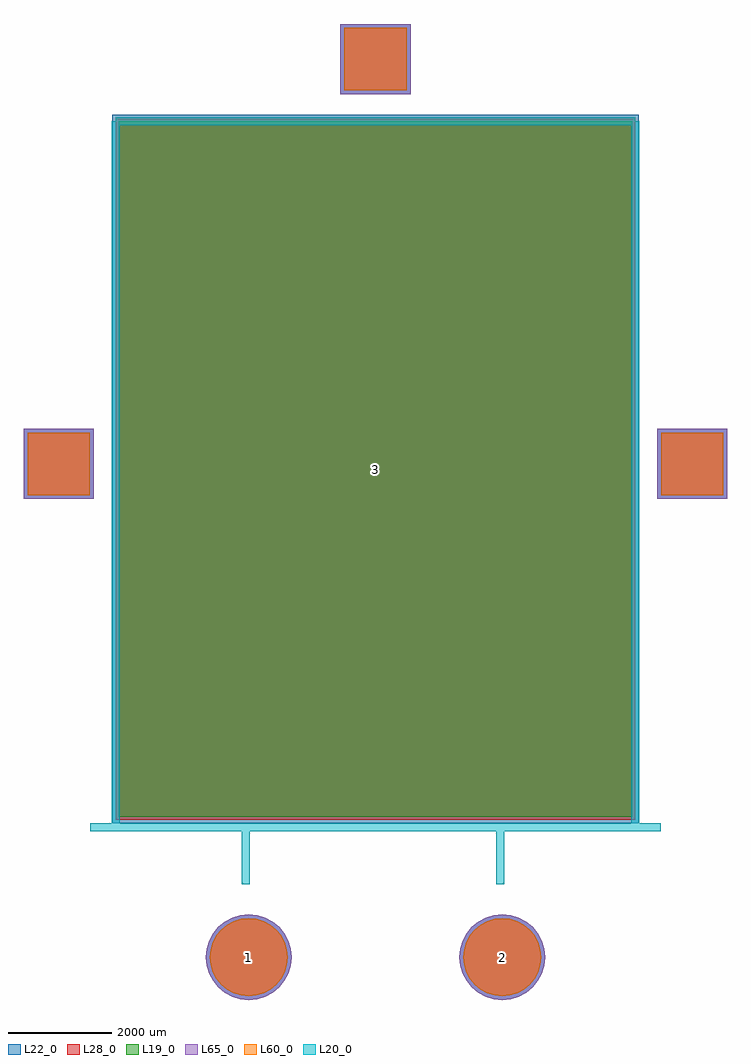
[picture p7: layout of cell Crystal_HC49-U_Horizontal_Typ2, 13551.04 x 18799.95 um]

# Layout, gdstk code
import gdstk
lib = gdstk.Library(unit=1e-6, precision=1e-09)
def R(c, l, rs):  # rectangles x0, y0, x1, y1
    for r in rs: c.add(gdstk.rectangle(r[:2], r[2:], *l))
def P(c, l, *ps):  # polygons
    for p in ps: c.add(gdstk.Polygon(p, *l))
L19_0 = (19, 0)
L20_0 = (20, 0)
L22_0 = (22, 0)
L28_0 = (28, 0)
L60_0 = (60, 0)
L65_0 = (65, 0)

crystal_hc49_u_horizonta = lib.new_cell('Crystal_HC49-U_Horizontal_Typ2')
R(crystal_hc49_u_horizonta, L19_0, [(-4949.99,2700.49,4949.99,16100.59)])
R(crystal_hc49_u_horizonta, L22_0, [(-5074.99,2575.49,5074.99,16225.59), (-6775.52,8825.16,-5426.64,10174.04), (5426.64,8825.16,6775.52,10174.04), (-674.44,16625.5,674.44,17974.38)])
P(crystal_hc49_u_horizonta, L22_0, [(3266.51,0),(3250.647,161.061),(3203.667,315.932),(3127.376,458.662),(3024.706,583.766),(2899.602,686.436),(2756.872,762.727),(2602.001,809.707),(2440.94,825.57),(2279.879,809.707),(2125.008,762.727),(1982.278,686.436),(1857.174,583.766),(1754.504,458.662),(1678.213,315.932),(1631.233,161.061),(1615.37,0),(1631.233,-161.061),(1678.213,-315.932),(1754.504,-458.662),(1857.174,-583.766),(1982.278,-686.436),(2125.008,-762.727),(2279.879,-809.707),(2440.94,-825.57),(2602.001,-809.707),(2756.872,-762.727),(2899.602,-686.436),(3024.706,-583.766),(3127.376,-458.662),(3203.667,-315.932),(3250.647,-161.061)],
  [(-1615.37,0),(-1631.233,161.061),(-1678.213,315.932),(-1754.504,458.662),(-1857.174,583.766),(-1982.278,686.436),(-2125.008,762.727),(-2279.879,809.707),(-2440.94,825.57),(-2602.001,809.707),(-2756.872,762.727),(-2899.602,686.436),(-3024.706,583.766),(-3127.376,458.662),(-3203.667,315.932),(-3250.647,161.061),(-3266.51,0),(-3250.647,-161.061),(-3203.667,-315.932),(-3127.376,-458.662),(-3024.706,-583.766),(-2899.602,-686.436),(-2756.872,-762.727),(-2602.001,-809.707),(-2440.94,-825.57),(-2279.879,-809.707),(-2125.008,-762.727),(-1982.278,-686.436),(-1857.174,-583.766),(-1754.504,-458.662),(-1678.213,-315.932),(-1631.233,-161.061)])
R(crystal_hc49_u_horizonta, L28_0, [(-4999.99,2650.49,4999.99,16150.59), (-6700.52,8900.16,-5501.64,10099.04), (5501.64,8900.16,6700.52,10099.04), (-599.44,16700.5,599.44,17899.38)])
P(crystal_hc49_u_horizonta, L28_0, [(3191.51,0),(3177.088,146.429),(3134.376,287.231),(3065.016,416.994),(2971.673,530.733),(2857.934,624.076),(2728.171,693.436),(2587.369,736.148),(2440.94,750.57),(2294.511,736.148),(2153.709,693.436),(2023.946,624.076),(1910.207,530.733),(1816.864,416.994),(1747.504,287.231),(1704.792,146.429),(1690.37,0),(1704.792,-146.429),(1747.504,-287.231),(1816.864,-416.994),(1910.207,-530.733),(2023.946,-624.076),(2153.709,-693.436),(2294.511,-736.148),(2440.94,-750.57),(2587.369,-736.148),(2728.171,-693.436),(2857.934,-624.076),(2971.673,-530.733),(3065.016,-416.994),(3134.376,-287.231),(3177.088,-146.429)],
  [(-1690.37,0),(-1704.792,146.429),(-1747.504,287.231),(-1816.864,416.994),(-1910.207,530.733),(-2023.946,624.076),(-2153.709,693.436),(-2294.511,736.148),(-2440.94,750.57),(-2587.369,736.148),(-2728.171,693.436),(-2857.934,624.076),(-2971.673,530.733),(-3065.016,416.994),(-3134.376,287.231),(-3177.088,146.429),(-3191.51,0),(-3177.088,-146.429),(-3134.376,-287.231),(-3065.016,-416.994),(-2971.673,-530.733),(-2857.934,-624.076),(-2728.171,-693.436),(-2587.369,-736.148),(-2440.94,-750.57),(-2294.511,-736.148),(-2153.709,-693.436),(-2023.946,-624.076),(-1910.207,-530.733),(-1816.864,-416.994),(-1747.504,-287.231),(-1704.792,-146.429)])
R(crystal_hc49_u_horizonta, L60_0, [(-6700.52,8900.16,-5501.64,10099.04), (5501.64,8900.16,6700.52,10099.04), (-599.44,16700.5,599.44,17899.38)])
P(crystal_hc49_u_horizonta, L60_0, [(3191.51,0),(3177.088,146.429),(3134.376,287.231),(3065.016,416.994),(2971.673,530.733),(2857.934,624.076),(2728.171,693.436),(2587.369,736.148),(2440.94,750.57),(2294.511,736.148),(2153.709,693.436),(2023.946,624.076),(1910.207,530.733),(1816.864,416.994),(1747.504,287.231),(1704.792,146.429),(1690.37,0),(1704.792,-146.429),(1747.504,-287.231),(1816.864,-416.994),(1910.207,-530.733),(2023.946,-624.076),(2153.709,-693.436),(2294.511,-736.148),(2440.94,-750.57),(2587.369,-736.148),(2728.171,-693.436),(2857.934,-624.076),(2971.673,-530.733),(3065.016,-416.994),(3134.376,-287.231),(3177.088,-146.429)],
  [(-1690.37,0),(-1704.792,146.429),(-1747.504,287.231),(-1816.864,416.994),(-1910.207,530.733),(-2023.946,624.076),(-2153.709,693.436),(-2294.511,736.148),(-2440.94,750.57),(-2587.369,736.148),(-2728.171,693.436),(-2857.934,624.076),(-2971.673,530.733),(-3065.016,416.994),(-3134.376,287.231),(-3177.088,146.429),(-3191.51,0),(-3177.088,-146.429),(-3134.376,-287.231),(-3065.016,-416.994),(-2971.673,-530.733),(-2857.934,-624.076),(-2728.171,-693.436),(-2587.369,-736.148),(-2440.94,-750.57),(-2294.511,-736.148),(-2153.709,-693.436),(-2023.946,-624.076),(-1910.207,-530.733),(-1816.864,-416.994),(-1747.504,-287.231),(-1704.792,-146.429)])
R(crystal_hc49_u_horizonta, L65_0, [(-6775.52,8825.16,-5426.64,10174.04), (5426.64,8825.16,6775.52,10174.04), (-674.44,16625.5,674.44,17974.38)])
P(crystal_hc49_u_horizonta, L65_0, [(3266.51,0),(3250.647,161.061),(3203.667,315.932),(3127.376,458.662),(3024.706,583.766),(2899.602,686.436),(2756.872,762.727),(2602.001,809.707),(2440.94,825.57),(2279.879,809.707),(2125.008,762.727),(1982.278,686.436),(1857.174,583.766),(1754.504,458.662),(1678.213,315.932),(1631.233,161.061),(1615.37,0),(1631.233,-161.061),(1678.213,-315.932),(1754.504,-458.662),(1857.174,-583.766),(1982.278,-686.436),(2125.008,-762.727),(2279.879,-809.707),(2440.94,-825.57),(2602.001,-809.707),(2756.872,-762.727),(2899.602,-686.436),(3024.706,-583.766),(3127.376,-458.662),(3203.667,-315.932),(3250.647,-161.061)],
  [(-1615.37,0),(-1631.233,161.061),(-1678.213,315.932),(-1754.504,458.662),(-1857.174,583.766),(-1982.278,686.436),(-2125.008,762.727),(-2279.879,809.707),(-2440.94,825.57),(-2602.001,809.707),(-2756.872,762.727),(-2899.602,686.436),(-3024.706,583.766),(-3127.376,458.662),(-3203.667,315.932),(-3250.647,161.061),(-3266.51,0),(-3250.647,-161.061),(-3203.667,-315.932),(-3127.376,-458.662),(-3024.706,-583.766),(-2899.602,-686.436),(-2756.872,-762.727),(-2602.001,-809.707),(-2440.94,-825.57),(-2279.879,-809.707),(-2125.008,-762.727),(-1982.278,-686.436),(-1857.174,-583.766),(-1754.504,-458.662),(-1678.213,-315.932),(-1631.233,-161.061)])
crystal_hc49_u_horizonta.add(gdstk.FlexPath([(-5499.1,2499.36),(5499.1,2499.36)], 149.998, ends="flush", simple_path=True, layer=20, datatype=0))  # L20_0
crystal_hc49_u_horizonta.add(gdstk.FlexPath([(5001.26,16101.06),(5001.26,2499.36)], 149.998, ends="flush", simple_path=True, layer=20, datatype=0))  # L20_0
crystal_hc49_u_horizonta.add(gdstk.FlexPath([(-5001.26,16101.06),(5001.26,16101.06)], 149.998, ends="flush", simple_path=True, layer=20, datatype=0))  # L20_0
crystal_hc49_u_horizonta.add(gdstk.FlexPath([(-5001.26,2499.36),(-5001.26,16101.06)], 149.998, ends="flush", simple_path=True, layer=20, datatype=0))  # L20_0
crystal_hc49_u_horizonta.add(gdstk.FlexPath([(-2499.36,1399.54),(-2499.36,2499.36)], 149.998, ends="flush", simple_path=True, layer=20, datatype=0))  # L20_0
crystal_hc49_u_horizonta.add(gdstk.FlexPath([(2400.3,1399.54),(2400.3,2499.36)], 149.998, ends="flush", simple_path=True, layer=20, datatype=0))  # L20_0
crystal_hc49_u_horizonta.add(gdstk.Label('3', (0,9400.54), layer=28, texttype=0))
crystal_hc49_u_horizonta.add(gdstk.Label('2', (2440.94,0), layer=28, texttype=0))
crystal_hc49_u_horizonta.add(gdstk.Label('1', (-2440.94,0), layer=28, texttype=0))
crystal_hc49_u_horizonta.add(gdstk.Label('type', (1270,-2540), layer=9, texttype=0))
crystal_hc49_u_horizonta.add(gdstk.Label('devicename', (0,19050), layer=9, texttype=0))

lib.write_gds('Crystal_HC49-U_Horizontal_Typ2.gds')
